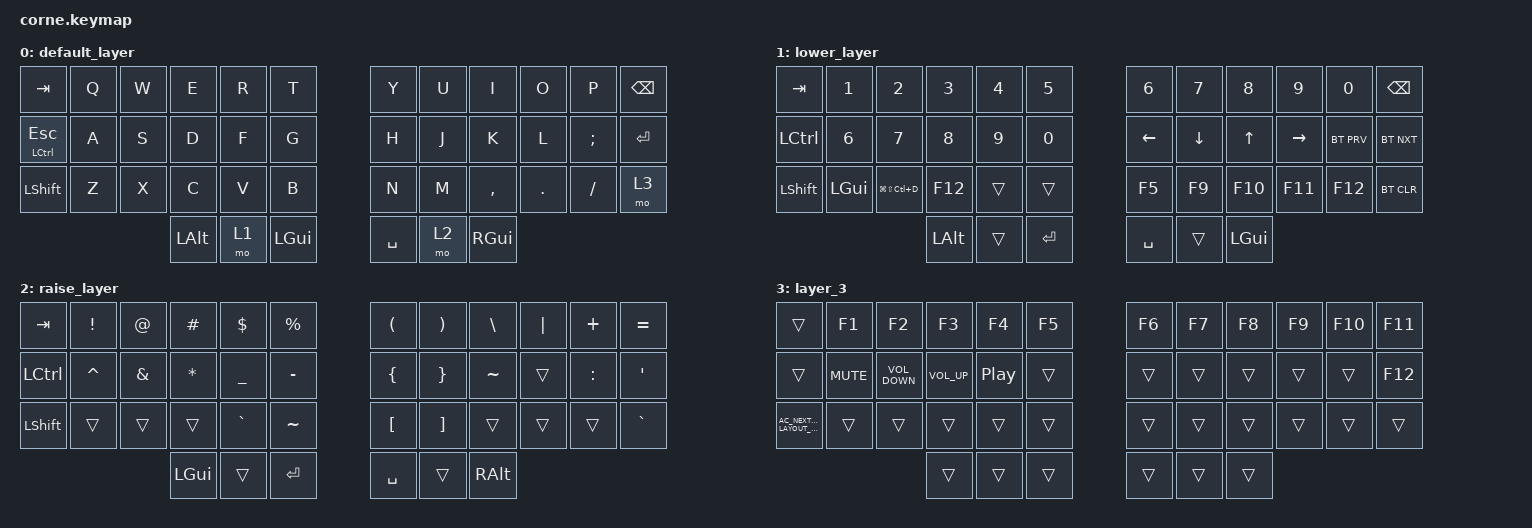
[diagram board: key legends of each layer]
/*
 * Copyright (c) 2020 The ZMK Contributors
 *
 * SPDX-License-Identifier: MIT
 */

#include <behaviors.dtsi>
#include <dt-bindings/zmk/bt.h>
#include <dt-bindings/zmk/keys.h>

/ {
    keymap {
        compatible = "zmk,keymap";

        default_layer {
            bindings = <
&kp TAB         &kp Q  &kp W  &kp E         &kp R  &kp T           &kp Y      &kp U  &kp I          &kp O    &kp P     &kp BSPC
&mt LCTRL ESC   &kp A  &kp S  &kp D         &kp F  &kp G           &kp H      &kp J  &kp K          &kp L    &kp SEMI  &kp ENTER
&kp LEFT_SHIFT  &kp Z  &kp X  &kp C         &kp V  &kp B           &kp N      &kp M  &kp COMMA      &kp DOT  &kp FSLH  &mo 3
                              &kp LEFT_ALT  &mo 1  &kp LEFT_GUI    &kp SPACE  &mo 2  &kp RIGHT_GUI
            >;
        };

        lower_layer {
            bindings = <
&kp TAB    &kp N1        &kp N2             &kp N3        &kp N4  &kp N5       &kp N6     &kp N7    &kp N8        &kp N9     &kp N0      &kp BSPC
&kp LCTRL  &kp NUMBER_6  &kp N7             &kp N8        &kp N9  &kp N0       &kp LEFT   &kp DOWN  &kp UP        &kp RIGHT  &bt BT_PRV  &bt BT_NXT
&kp LSHFT  &kp LEFT_GUI  &kp LG(LS(LC(D)))  &kp F12       &trans  &trans       &kp F5     &kp F9    &kp F10       &kp F11    &kp F12     &bt BT_CLR
                                            &kp LEFT_ALT  &trans  &kp ENTER    &kp SPACE  &trans    &kp LEFT_GUI
            >;
        };

        raise_layer {
            bindings = <
&kp TAB    &kp EXCL   &kp AT         &kp HASH      &kp DLLR   &kp PRCNT    &kp LEFT_PARENTHESIS  &kp RIGHT_PARENTHESIS  &kp BACKSLASH  &kp PIPE  &kp PLUS   &kp EQUAL
&kp LCTRL  &kp CARET  &kp AMPERSAND  &kp ASTERISK  &kp UNDER  &kp MINUS    &kp LEFT_BRACE        &kp RIGHT_BRACE        &kp TILDE      &trans    &kp COLON  &kp SINGLE_QUOTE
&kp LSHFT  &trans     &trans         &trans        &kp GRAVE  &kp TILDE    &kp LEFT_BRACKET      &kp RIGHT_BRACKET      &trans         &trans    &trans     &kp GRAVE
                                     &kp LGUI      &trans     &kp ENTER    &kp SPACE             &trans                 &kp RALT
            >;
        };

        layer_3 {
            bindings = <
&trans                                &kp F1      &kp F2             &kp F3           &kp F4            &kp F5    &kp F6  &kp F7  &kp F8  &kp F9  &kp F10  &kp F11
&trans                                &kp K_MUTE  &kp C_VOLUME_DOWN  &kp C_VOLUME_UP  &kp C_PLAY_PAUSE  &trans    &trans  &trans  &trans  &trans  &trans   &kp F12
&kp C_AC_NEXT_KEYBOARD_LAYOUT_SELECT  &trans      &trans             &trans           &trans            &trans    &trans  &trans  &trans  &trans  &trans   &trans
                                                                     &trans           &trans            &trans    &trans  &trans  &trans
            >;
        };
    };
};
